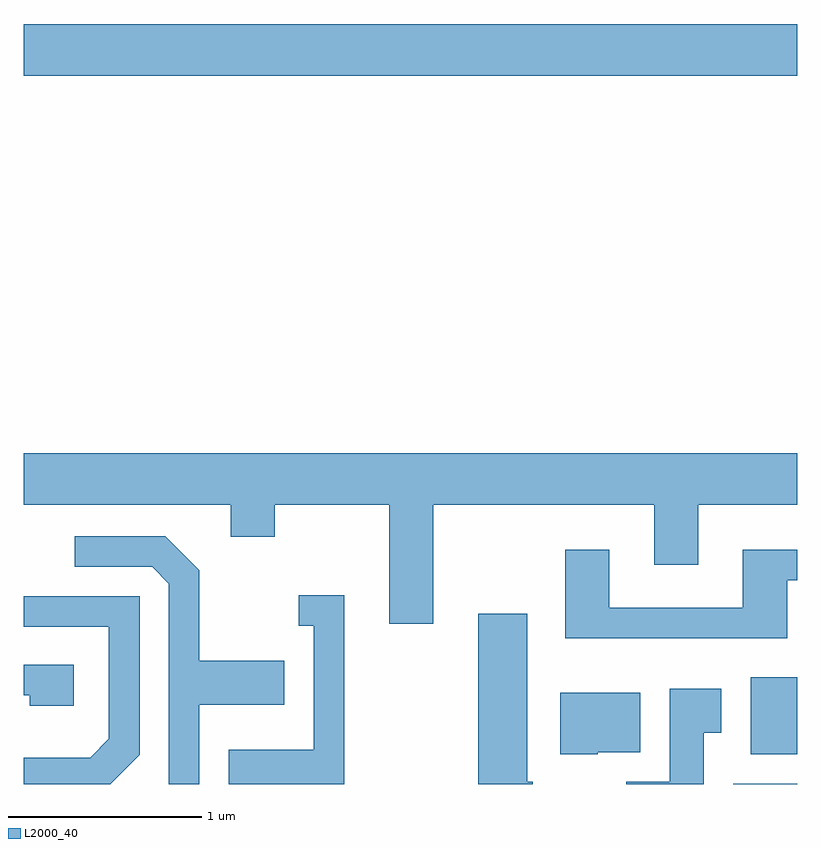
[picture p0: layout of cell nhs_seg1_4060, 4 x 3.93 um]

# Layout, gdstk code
import gdstk
lib = gdstk.Library(unit=1e-6, precision=1e-09)
def R(c, l, rs):  # rectangles x0, y0, x1, y1
    for r in rs: c.add(gdstk.rectangle(r[:2], r[2:], *l))
def P(c, l, *ps):  # polygons
    for p in ps: c.add(gdstk.Polygon(p, *l))
L2000_40 = (2000, 40)

nhs_seg1_4060 = lib.new_cell('nhs_seg1_4060')
R(nhs_seg1_4060, L2000_40, [(311.281,873.712,311.611,873.714), (311.371,873.866,311.611,874.264), (307.611,877.376,311.611,877.644)])
P(nhs_seg1_4060, L2000_40, [(309.729,875.156),(310.871,875.156),(310.871,874.846),(311.099,874.846),(311.099,875.156),(311.611,875.156),(311.611,875.424),(307.611,875.424),(307.611,875.156),(308.681,875.156),(308.681,874.991),(308.909,874.991),(308.909,875.156),(309.501,875.156),(309.501,874.541),(309.729,874.541)],
  [(308.519,874.121),(308.959,874.121),(308.959,874.349),(308.519,874.349),(308.519,874.817),(308.342,874.994),(307.873,874.994),(307.873,874.836),(308.274,874.836),(308.361,874.749),(308.361,873.712),(308.519,873.712)],
  [(311.559,874.766),(311.611,874.766),(311.611,874.924),(311.331,874.924),(311.331,874.624),(310.639,874.624),(310.639,874.924),(310.411,874.924),(310.411,874.466),(311.559,874.466)],
  [(309.269,874.689),(309.033,874.689),(309.033,874.531),(309.111,874.531),(309.111,873.889),(308.671,873.889),(308.671,873.712),(309.269,873.712)],
  [(308.209,873.864),(308.209,874.684),(307.611,874.684),(307.611,874.526),(308.051,874.526),(308.051,873.947),(307.954,873.849),(307.611,873.849),(307.611,873.712),(308.058,873.712)],
  [(310.244,873.724),(310.214,873.724),(310.214,874.594),(309.961,874.594),(309.961,873.712),(310.244,873.712)],
  [(307.869,874.329),(307.611,874.329),(307.611,874.171),(307.641,874.171),(307.641,874.116),(307.869,874.116)],
  [(311.129,873.976),(311.219,873.976),(311.219,874.204),(310.951,874.204),(310.951,873.724),(310.726,873.724),(310.726,873.712),(311.129,873.712)],
  [(310.58,873.876),(310.799,873.876),(310.799,874.184),(310.386,874.184),(310.386,873.866),(310.58,873.866)])

lib.write_gds('nhs_seg1_4060.gds')
